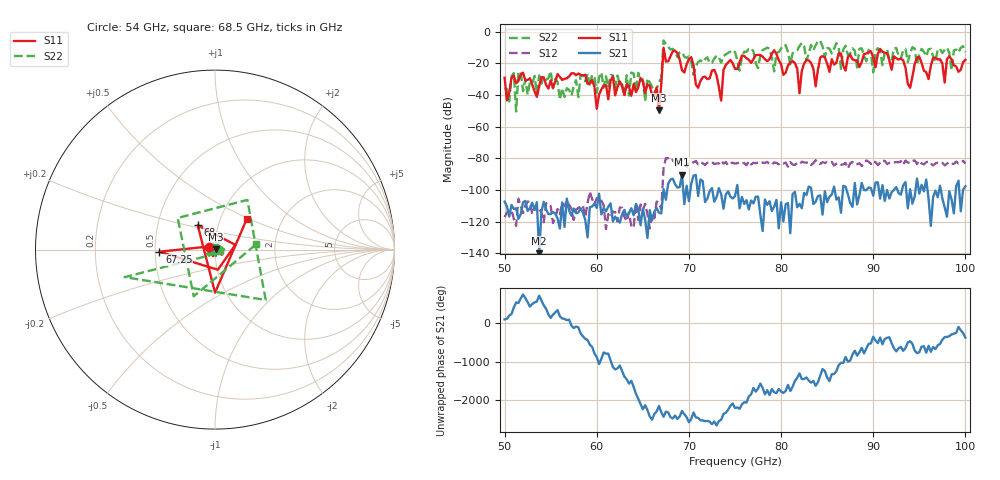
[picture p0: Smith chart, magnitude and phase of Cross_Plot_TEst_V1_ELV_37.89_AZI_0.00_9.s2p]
! 11/25/2026 1:20:39 PM
! C:\ANRITSUVNA\TEMP\TEMP.S2P
! CHANNEL.1
! TR.MEASUREMENT
! RAW.DATA
# HZ S RI R 50.0
! FREQ.HZ  S11RE  S11IM  S21RE  S21IM  S12RE  S12IM  S22RE  S22IM
!; PortSelection: Port_12
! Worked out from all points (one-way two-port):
!   201 points, 50 GHz to 100 GHz, reference 50 ohm
!   highest |S21| = -90.36 dB at 69.25 GHz (marker M1); lowest = -140.0 dB at 53.75 GHz (marker M2)
!   lowest |S11| = -49.7 dB at 66.75 GHz (marker M3), VSWR 1.01, Z = 50.3 + j0.0704 ohm
!   |S11| at or under -10 dB: start of sweep to end of sweep
!   |S22| runs from -50.5 to -5.6 dB; largest |S21 - S12| = 0.00012
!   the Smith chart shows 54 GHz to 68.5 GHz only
!   S11 on the Smith chart (normalised r, x): 54 GHz: 0.93, +0.03; 67.25 GHz: 0.53, -0.01; 68 GHz: 0.80, +0.22; 68.5 GHz: 1.33, +0.49
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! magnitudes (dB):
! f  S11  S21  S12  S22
! 50 GHz  -29.1  -107.4  -117.1  -35.8
! 51 GHz  -27.9  -112.0  -118.4  -26.2
! 51.25 GHz  -32.6  -111.6  -122.8  -50.5
! 51.5 GHz  -31.2  -118.3  -105.5  -25.7
! 53.75 GHz  -34.6  -140.0  -111.4  -27.7
! 54 GHz  -28.7  -113.7  -114.7  -32.9
! 58.5 GHz  -27.6  -114.5  -109.8  -27.7
! 60 GHz  -48.8  -111.4  -105.4  -38.6
! 61.75 GHz  -28.4  -120.0  -113.7  -27.7
! 66.75 GHz  -49.7  -114.4  -108.0  -31.9
! 67.25 GHz  -10.2  -99.6  -86.2  -5.6
! 68 GHz  -15.5  -93.5  -81.6  -11.3
! 68.5 GHz  -12.1  -96.4  -83.0  -12.7
! 69.25 GHz  -24.4  -90.4  -81.2  -12.8
! 72.75 GHz  -24.1  -107.4  -83.6  -17.0
! 73.5 GHz  -43.6  -102.6  -81.6  -19.7
! 75 GHz  -23.5  -104.0  -83.4  -13.0
! 83.5 GHz  -23.4  -109.0  -83.2  -11.8
! 91.75 GHz  -18.2  -105.5  -83.0  -17.6
! 94 GHz  -35.5  -99.6  -83.1  -13.7
! 94.75 GHz  -16.4  -92.9  -83.6  -20.9
! 100 GHz  -17.9  -97.7  -83.4  -12.9
